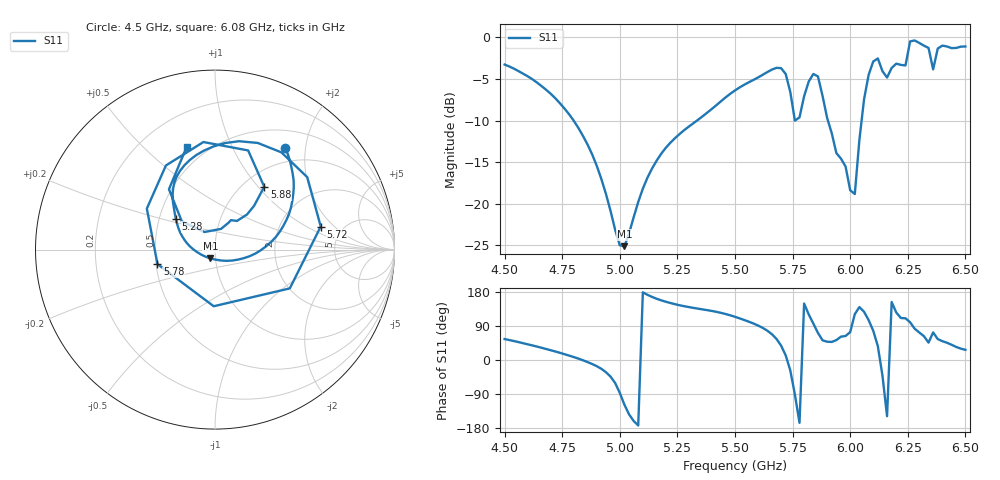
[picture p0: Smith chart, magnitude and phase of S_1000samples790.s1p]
! TOUCHSTONE file generated by CST MICROWAVE STUDIO
! Date and time: Sat Oct 29 09:43:00 2022
! Project name: L.cst
! Parameters = {Di=1.27; Epsilon_r=1.56; InnerDiameter=1.27; Length=2; Lf=10; Lg=60; OuterConductorThickness=0.2921; OuterDiameter=3.6; Wf=3; Wp=41.2; de=1.5; df=6.8; g=0.8; gx=2.49553; gy=1.94922; h=2.34; hf=1.524; px=14.0047; py=14.1511; w=9.7; wx=11.5092; wy=12.2019}
! Header version: 2018
! Port assignment regex: !\s*Touchstone port\s*([0-9]+)\s*=\s*(CST MWS port|CST DS port)\s*([0-9]+|Zmin|Zmax)\s*\(\"(.*)\"\)(\s*mode\s*([0-9]+))?.*
! Touchstone port assignment:
! Touchstone port 1 = CST MWS port 1 ("")
# GHz S DB R 50
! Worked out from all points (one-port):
!   101 points, 4.5 GHz to 6.5 GHz, reference 50 ohm
!   lowest |S11| = -25.1 dB at 5.02 GHz (marker M1), VSWR 1.12, Z = 47.2 - j4.64 ohm
!   |S11| at or under -10 dB: 4.8 GHz to 5.335 GHz (535.8 MHz wide, 10.6 % of centre); 5.759919 GHz to 5.760703 GHz (783.8 kHz wide, 0.0136 % of centre); 5.903 GHz to 6.05 GHz (146.3 MHz wide, 2.45 % of centre)
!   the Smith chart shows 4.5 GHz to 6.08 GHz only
!   S11 on the Smith chart (normalised r, x): 4.5 GHz: 0.77, +1.64; 5.28 GHz: 0.61, +0.23; 5.72 GHz: 3.43, +1.39; 5.78 GHz: 0.51, -0.09; 5.88 GHz: 1.24, +1.08; 6.08 GHz: 0.39, +0.69
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4.5  -3.27 55.3
4.76  -8.56 15.3
5  -25.02 -86.8
5.02  -25.12 -117.9
5.26  -11.61 144.4
5.28  -11.15 141.9
5.5  -6.38 114.0
5.66  -3.87 68.2
5.72  -4.39 12.3
5.76  -10.01 -91.3
5.78  -9.62 -165.8
5.84  -4.40 96.1
5.88  -7.04 51.9
6  -18.39 73.6
6.02  -18.85 121.0
6.08  -4.51 105.3
6.1  -2.90 77.3
6.12  -2.53 36.4
6.14  -4.06 -41.1
6.16  -4.83 -148.3
6.18  -3.67 153.0
6.2  -3.16 125.3
6.24  -3.37 110.1
6.26  -0.48 99.6
6.34  -1.26 45.9
6.36  -3.85 72.8
6.4  -0.99 49.7
6.5  -1.09 26.8
